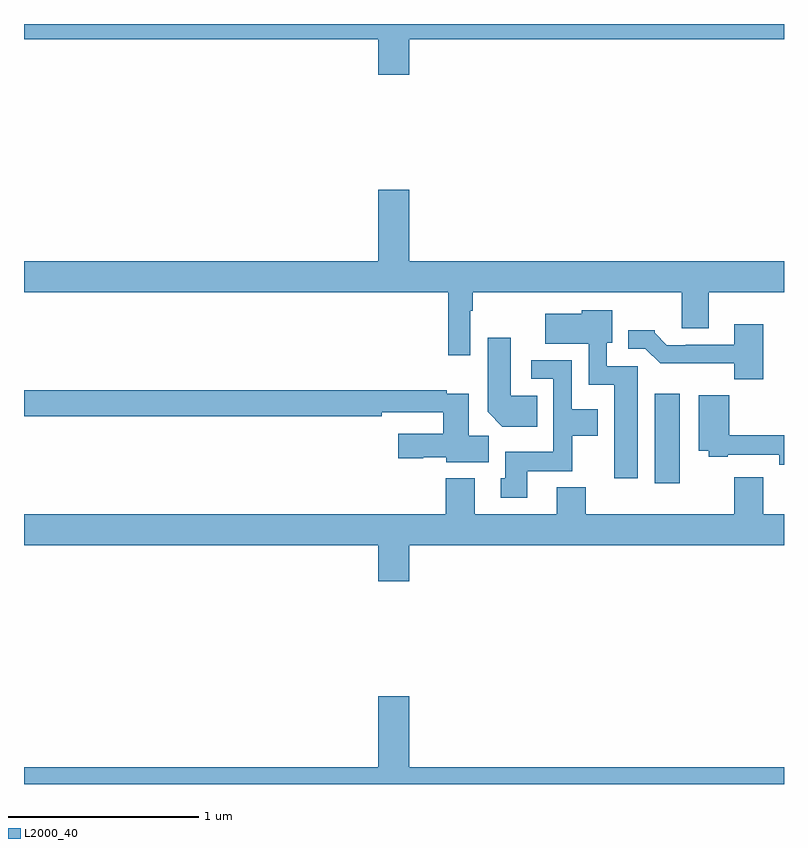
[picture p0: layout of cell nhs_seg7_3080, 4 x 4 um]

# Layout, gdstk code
import gdstk
lib = gdstk.Library(unit=1e-6, precision=1e-09)
def R(c, l, rs):  # rectangles x0, y0, x1, y1
    for r in rs: c.add(gdstk.rectangle(r[:2], r[2:], *l))
def P(c, l, *ps):  # polygons
    for p in ps: c.add(gdstk.Polygon(p, *l))
L2000_40 = (2000, 40)

nhs_seg7_3080 = lib.new_cell('nhs_seg7_3080')
R(nhs_seg7_3080, L2000_40, [(310.319,1027.584,310.45,1028.053)])
P(nhs_seg7_3080, L2000_40, [(309.028,1029.92),(311,1029.92),(311,1030),(307,1030),(307,1029.92),(308.864,1029.92),(308.864,1029.732),(309.028,1029.732)],
  [(309.348,1028.492),(309.361,1028.492),(309.361,1028.588),(310.463,1028.588),(310.463,1028.398),(310.603,1028.398),(310.603,1028.588),(311,1028.588),(311,1028.752),(309.028,1028.752),(309.028,1029.127),(308.864,1029.127),(308.864,1028.752),(307,1028.752),(307,1028.588),(309.232,1028.588),(309.232,1028.256),(309.348,1028.256)],
  [(310.231,1028.199),(310.068,1028.199),(310.068,1028.322),(310.096,1028.322),(310.096,1028.494),(309.936,1028.494),(309.936,1028.476),(309.744,1028.476),(309.744,1028.318),(309.972,1028.318),(309.972,1028.102),(310.106,1028.102),(310.106,1027.608),(310.231,1027.608)],
  [(310.892,1028.419),(310.739,1028.419),(310.739,1028.313),(310.483,1028.313),(310.483,1028.31),(310.384,1028.31),(310.32,1028.374),(310.32,1028.389),(310.181,1028.389),(310.181,1028.292),(310.269,1028.292),(310.348,1028.214),(310.737,1028.214),(310.737,1028.129),(310.892,1028.129)],
  [(309.701,1028.044),(309.562,1028.044),(309.562,1028.35),(309.44,1028.35),(309.44,1027.958),(309.518,1027.88),(309.701,1027.88)],
  [(309.649,1027.646),(309.885,1027.646),(309.885,1027.832),(310.021,1027.832),(310.021,1027.972),(309.882,1027.972),(309.882,1028.229),(309.669,1028.229),(309.669,1028.133),(309.786,1028.133),(309.786,1027.75),(309.533,1027.75),(309.533,1027.608),(309.509,1027.608),(309.509,1027.506),(309.649,1027.506)],
  [(309.445,1027.832),(309.34,1027.832),(309.34,1028.054),(309.224,1028.054),(309.224,1028.072),(307,1028.072),(307,1027.936),(308.882,1027.936),(308.882,1027.956),(309.206,1027.956),(309.206,1027.843),(308.97,1027.843),(308.97,1027.714),(309.102,1027.714),(309.102,1027.721),(309.222,1027.721),(309.222,1027.694),(309.445,1027.694)],
  [(311,1027.835),(310.712,1027.835),(310.712,1028.047),(310.55,1028.047),(310.55,1027.754),(310.605,1027.754),(310.605,1027.722),(310.705,1027.722),(310.705,1027.734),(310.976,1027.734),(310.976,1027.679),(311,1027.679)],
  [(309.028,1027.256),(311,1027.256),(311,1027.42),(310.892,1027.42),(310.892,1027.615),(310.739,1027.615),(310.739,1027.42),(309.956,1027.42),(309.956,1027.561),(309.803,1027.561),(309.803,1027.42),(309.373,1027.42),(309.373,1027.609),(309.221,1027.609),(309.221,1027.42),(307,1027.42),(307,1027.256),(308.864,1027.256),(308.864,1027.068),(309.028,1027.068)],
  [(311,1026.088),(309.028,1026.088),(309.028,1026.463),(308.864,1026.463),(308.864,1026.088),(307,1026.088),(307,1026),(311,1026)])

lib.write_gds('nhs_seg7_3080.gds')
